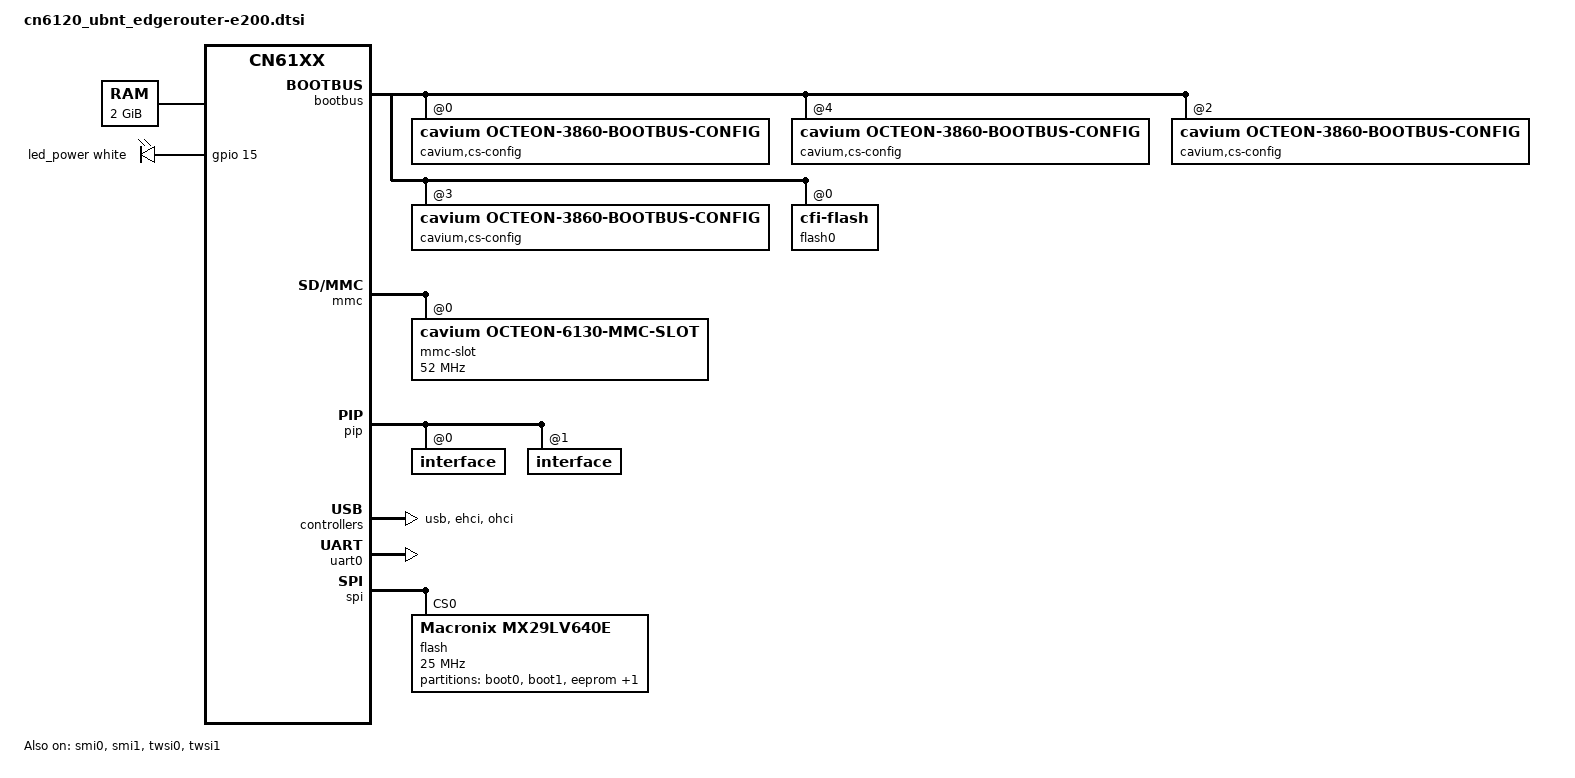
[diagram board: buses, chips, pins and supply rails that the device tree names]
// SPDX-License-Identifier: GPL-2.0-or-later OR MIT

#include "cn61xx.dtsi"

#include <dt-bindings/gpio/gpio.h>
#include <dt-bindings/input/input.h>
#include <dt-bindings/leds/common.h>

/ {
	compatible = "ubnt,e200", "cavium,cn61xx";

	aliases {
		led-boot = &led_power;
		led-failsafe = &led_power;
		led-running = &led_power;
		led-upgrade = &led_power;
	};

	memory {
		device_type = "memory";
		reg = <0x0 0x00000000 0x0 0x10000000
		       0x0 0x20000000 0x0 0x70000000>;
	};

	leds {
		compatible = "gpio-leds";

		led_power: power {
			function = LED_FUNCTION_POWER;
			color = <LED_COLOR_ID_WHITE>;
			gpios = <&gpio 15 GPIO_ACTIVE_HIGH>;
		};
	};
};

&bootbus {
	cavium,cs-config@0 {
		compatible = "cavium,octeon-3860-bootbus-config";
		cavium,cs-index = <0>;
		cavium,t-adr = <10>;
		cavium,t-ce = <50>;
		cavium,t-oe = <50>;
		cavium,t-we = <35>;
		cavium,t-rd-hld = <25>;
		cavium,t-wr-hld = <35>;
		cavium,t-pause  = <0>;
		cavium,t-wait   = <300>;
		cavium,t-page   = <25>;
		cavium,t-rd-dly = <0>;

		cavium,pages     = <0>;
		cavium,bus-width = <8>;
	};

	cavium,cs-config@4 {
		compatible = "cavium,octeon-3860-bootbus-config";
		cavium,cs-index = <4>;
		cavium,t-adr  = <10>;
		cavium,t-ce   = <10>;
		cavium,t-oe   = <160>;
		cavium,t-we   = <100>;
		cavium,t-rd-hld = <0>;
		cavium,t-wr-hld = <0>;
		cavium,t-pause  = <50>;
		cavium,t-wait   = <300>;
		cavium,t-page   = <300>;
		cavium,t-rd-dly = <10>;

		cavium,pages     = <0>;
		cavium,bus-width = <8>;
	};

	cavium,cs-config@2 {
		compatible = "cavium,octeon-3860-bootbus-config";
		cavium,cs-index = <2>;
		cavium,t-adr  = <0>;
		cavium,t-ce   = <300>;
		cavium,t-oe   = <125>;
		cavium,t-we   = <150>;
		cavium,t-rd-hld = <100>;
		cavium,t-wr-hld = <300>;
		cavium,t-pause  = <0>;
		cavium,t-wait   = <300>;
		cavium,t-page   = <300>;
		cavium,t-rd-dly = <0>;

		cavium,pages     = <0>;
		cavium,bus-width = <16>;
	};

	cavium,cs-config@3 {
		compatible = "cavium,octeon-3860-bootbus-config";
		cavium,cs-index = <3>;
		cavium,t-adr  = <0>;
		cavium,t-ce   = <30>;
		cavium,t-oe   = <125>;
		cavium,t-we   = <150>;
		cavium,t-rd-hld = <100>;
		cavium,t-wr-hld = <30>;
		cavium,t-pause  = <0>;
		cavium,t-wait   = <30>;
		cavium,t-page   = <300>;
		cavium,t-rd-dly = <0>;

		cavium,pages     = <0>;
		cavium,wait-mode;
		cavium,bus-width = <16>;
	};

	flash0: nor@0,0 {
		compatible = "cfi-flash";
		reg = <0 0 0x800000>;
		#address-cells = <1>;
		#size-cells = <1>;
	};
};

&dma0 {
	status = "okay";
};

&dma1 {
	status = "okay";
};

&mmc {
	status = "okay";

	mmc-slot@0 {
		compatible = "cavium,octeon-6130-mmc-slot", "mmc-spi-slot";
		reg = <0>;
		voltage-ranges = <3300 3300>;
		spi-max-frequency = <52000000>;
		cavium,bus-max-width = <8>;
	};
};

&smi0 {
	status = "okay";

	phy0: ethernet-phy@4 {
		status = "disabled";
		compatible = "broadcom,bcm", "ethernet-phy-ieee802.3-c22";
		reg = <4>;
		interrupt-parent = <&gpio>;
	};

	phy1: ethernet-phy@5 {
		status = "disabled";
		compatible = "broadcom,bcm", "ethernet-phy-ieee802.3-c22";
		reg = <5>;
		interrupt-parent = <&gpio>;
	};

	phy2: ethernet-phy@6 {
		status = "disabled";
		compatible = "broadcom,bcm", "ethernet-phy-ieee802.3-c22";
		reg = <6>;
		interrupt-parent = <&gpio>;
	};

	phy3: ethernet-phy@7 {
		status = "disabled";
		compatible = "broadcom,bcm", "ethernet-phy-ieee802.3-c22";
		reg = <7>;
		interrupt-parent = <&gpio>;
	};

	phy4: ethernet-phy@0 {
		status = "disabled";
		compatible = "broadcom,bcm", "ethernet-phy-ieee802.3-c22";
		reg = <0>;
		interrupt-parent = <&gpio>;
	};

	phy5: ethernet-phy@1 {
		status = "disabled";
		compatible = "broadcom,bcm", "ethernet-phy-ieee802.3-c22";
		reg = <1>;
		interrupt-parent = <&gpio>;
	};

	phy6: ethernet-phy@2 {
		status = "disabled";
		compatible = "broadcom,bcm", "ethernet-phy-ieee802.3-c22";
		reg = <2>;
		interrupt-parent = <&gpio>;
	};

	phy7: ethernet-phy@3 {
		status = "disabled";
		compatible = "broadcom,bcm", "ethernet-phy-ieee802.3-c22";
		reg = <3>;
		interrupt-parent = <&gpio>;
	};
};

&smi1 {
	status = "okay";

	phy2sfp: ethernet-phy@0 {
		status = "disabled";
		compatible = "broadcom,bcm", "ethernet-phy-ieee802.3-c22";
		reg = <0>;
		interrupt-parent = <&gpio>;
	};

	phy3sfp: ethernet-phy@1 {
		status = "disabled";
		compatible = "broadcom,bcm", "ethernet-phy-ieee802.3-c22";
		reg = <1>;
		interrupt-parent = <&gpio>;
	};
};

&pip {
	status = "okay";

	interface@0 {
		status = "okay";
	};

	interface@1 {
		status = "okay";
	};
};

&twsi0 {
	status = "okay";
};

&twsi1 {
	status = "okay";
};

&usb {
	status = "okay";
};

&ehci {
	status = "okay";
};

&ohci {
	status = "okay";
};

&uart0 {
	status = "okay";
	clock-frequency = <600000000>;
};

&spi {
	status = "okay";

	flash@0 {
		#address-cells = <1>;
		#size-cells = <1>;
		compatible = "Macronix,mx29lv640e", "spi-flash";
		reg = <0>;
		spi-max-frequency = <25000000>;

		partitions {
			compatible = "fixed-partitions";
			#address-cells = <1>;
			#size-cells = <1>;

			partition@0 {
				label = "boot0";
				read-only;
				reg = <0x00000 0xa0000>;
			};

			partition@a0000 {
				label = "boot1";
				read-only;
				reg = <0xa0000 0xa0000>;
			};

			partition@140000 {
				label = "eeprom";
				read-only;
				reg = <0x140000 0x10000>;

				nvmem-layout {
					compatible = "fixed-layout";
					#address-cells = <1>;
					#size-cells = <1>;

					macaddr_eeprom_0: macaddr@0 {
						compatible = "mac-base";
						reg = <0x0 0x6>;
						#nvmem-cell-cells = <1>;
					};
				};
			};

			partition@7fe000 {
				label = "u-boot_env";
				read-only;
				reg = <0x7fe000 0x2000>;
			};
		};
	};
};
